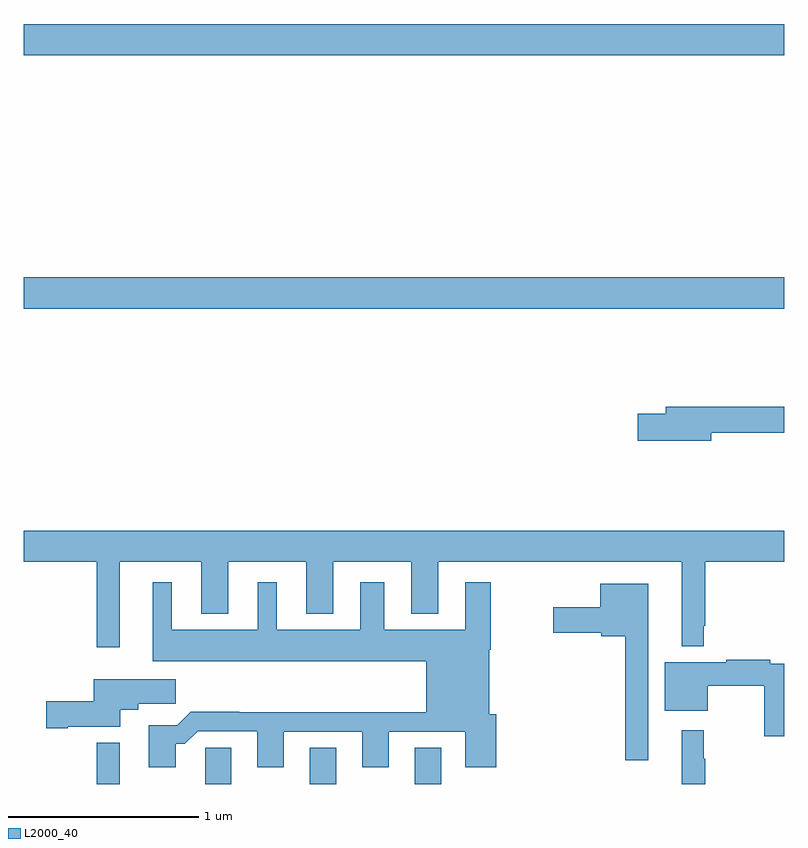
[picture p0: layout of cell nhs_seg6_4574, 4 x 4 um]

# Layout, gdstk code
import gdstk
lib = gdstk.Library(unit=1e-6, precision=1e-09)
def R(c, l, rs):  # rectangles x0, y0, x1, y1
    for r in rs: c.add(gdstk.rectangle(r[:2], r[2:], *l))
def P(c, l, *ps):  # polygons
    for p in ps: c.add(gdstk.Polygon(p, *l))
L2000_40 = (2000, 40)

nhs_seg6_4574 = lib.new_cell('nhs_seg6_4574')
R(nhs_seg6_4574, L2000_40, [(381.384,947.5,381.505,947.716), (381.954,947.5,382.093,947.69), (382.505,947.5,382.645,947.69), (383.057,947.5,383.197,947.69), (381,950,385,950.164), (381,951.332,385,951.496)])
P(nhs_seg6_4574, L2000_40, [(384.616,949.348),(385,949.348),(385,949.484),(384.377,949.484),(384.377,949.448),(384.228,949.448),(384.228,949.306),(384.616,949.306)],
  [(381.505,948.668),(381.935,948.668),(381.935,948.395),(382.075,948.395),(382.075,948.668),(382.487,948.668),(382.487,948.395),(382.627,948.395),(382.627,948.668),(383.039,948.668),(383.039,948.395),(383.179,948.395),(383.179,948.668),(384.461,948.668),(384.461,948.224),(384.576,948.224),(384.576,948.331),(384.583,948.331),(384.583,948.668),(385,948.668),(385,948.832),(381,948.832),(381,948.668),(381.384,948.668),(381.384,948.219),(381.505,948.219)],
  [(381.799,947.711),(381.848,947.711),(381.915,947.778),(382.229,947.778),(382.229,947.589),(382.369,947.589),(382.369,947.775),(382.781,947.775),(382.781,947.589),(382.921,947.589),(382.921,947.775),(383.321,947.775),(383.321,947.589),(383.486,947.589),(383.486,947.868),(383.449,947.868),(383.449,948.206),(383.457,948.206),(383.457,948.562),(383.321,948.562),(383.321,948.31),(382.897,948.31),(382.897,948.562),(382.769,948.562),(382.769,948.31),(382.33,948.31),(382.33,948.562),(382.232,948.562),(382.232,948.31),(381.778,948.31),(381.778,948.562),(381.68,948.562),(381.68,948.146),(383.117,948.146),(383.117,947.876),(382.133,947.876),(382.133,947.879),(381.878,947.879),(381.808,947.809),(381.659,947.809),(381.659,947.589),(381.799,947.589)],
  [(384.283,948.553),(384.032,948.553),(384.032,948.43),(383.784,948.43),(383.784,948.296),(384.036,948.296),(384.036,948.278),(384.162,948.278),(384.162,947.625),(384.283,947.625)],
  [(385,948.132),(384.926,948.132),(384.926,948.152),(384.694,948.152),(384.694,948.139),(384.371,948.139),(384.371,947.885),(384.598,947.885),(384.598,948.016),(384.895,948.016),(384.895,947.751),(385,947.751)],
  [(381.232,947.801),(381.508,947.801),(381.508,947.891),(381.604,947.891),(381.604,947.923),(381.799,947.923),(381.799,948.052),(381.368,948.052),(381.368,947.936),(381.12,947.936),(381.12,947.794),(381.232,947.794)],
  [(384.583,947.633),(384.575,947.633),(384.575,947.782),(384.461,947.782),(384.461,947.5),(384.583,947.5)])

lib.write_gds('nhs_seg6_4574.gds')
